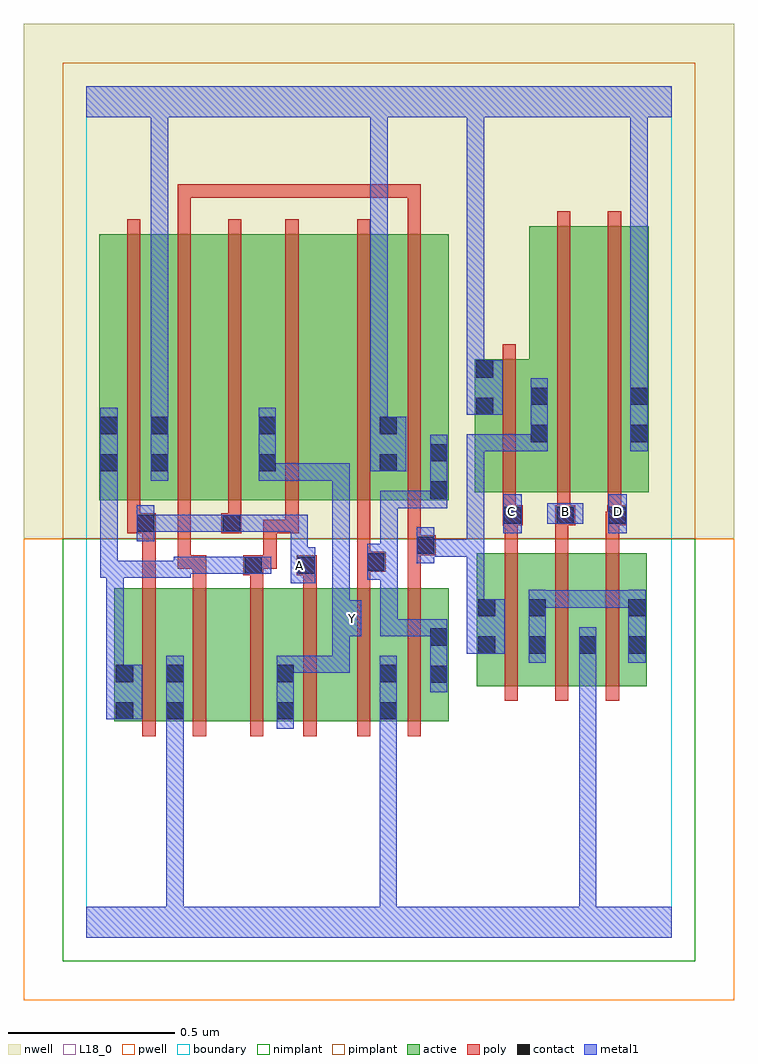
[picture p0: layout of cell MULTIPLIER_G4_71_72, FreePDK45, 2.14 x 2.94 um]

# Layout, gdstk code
import gdstk
lib = gdstk.Library(unit=1e-6, precision=1e-09)
def R(c, l, rs):  # rectangles x0, y0, x1, y1
    for r in rs: c.add(gdstk.rectangle(r[:2], r[2:], *l))
def A(c, l, x, y, w, h, nx, ny, dx, dy):  # array of equal rectangles
    R(c, l, [(x+i*dx, y+j*dy, x+i*dx+w, y+j*dy+h) for i in range(nx) for j in range(ny)])
active = (1, 0)
pwell = (2, 0)
nwell = (3, 0)
nimplant = (4, 0)
pimplant = (5, 0)
poly = (9, 0)
contact = (10, 0)
metal1 = (11, 0)
L18_0 = (18, 0)
boundary = (235, 0)

multiplier_g4_71_72 = lib.new_cell('MULTIPLIER_G4_71_72')
R(multiplier_g4_71_72, active, [(0.084,0.65,0.296,1.05), (0.236,0.65,0.416,1.05), (0.416,0.65,0.628,1.05), (0.568,0.65,0.748,1.05), (0.748,0.65,0.938,1.05), (0.878,0.65,1.09,1.05), (0.084,0.652,0.144,1.05), (0.236,0.652,0.296,0.824), (0.568,0.652,0.628,0.824), (0.878,0.652,0.938,0.824), (1.03,0.756,1.09,1.05), (1.174,0.756,1.234,1.156), (1.174,0.756,1.386,1.156), (1.326,0.756,1.538,1.156), (1.326,0.756,1.386,1.022), (1.478,0.756,1.686,1.156), (1.478,0.756,1.538,0.91), (1.626,0.756,1.686,1.156), (0.038,1.316,0.098,2.044), (0.038,1.316,0.25,2.116), (0.19,1.316,0.37,2.116), (0.19,1.316,0.25,2.044), (0.37,1.316,0.574,2.116), (0.514,1.316,0.694,2.116), (0.514,1.316,0.574,2.044), (0.694,1.316,0.938,2.116), (0.878,1.316,0.938,2.044), (0.878,1.316,1.09,2.116), (1.03,1.316,1.09,2.044), (1.168,1.34,1.228,1.74), (1.168,1.34,1.392,1.74), (1.332,1.34,1.512,2.14), (1.332,1.34,1.392,1.658), (1.512,1.34,1.692,2.14), (1.632,1.34,1.692,2.044)])
R(multiplier_g4_71_72, pwell, [(-0.188,-0.188,1.948,1.2)])
R(multiplier_g4_71_72, nwell, [(-0.188,1.2,1.948,2.748)])
R(multiplier_g4_71_72, nimplant, [(-0.072,-0.072,1.832,1.2)])
R(multiplier_g4_71_72, pimplant, [(-0.072,1.2,1.832,2.632)])
A(multiplier_g4_71_72, poly, 1.258, 0.712, 0.04, 0.488, 3, 1, 0.152, 0)
A(multiplier_g4_71_72, poly, 1.258, 1.16, 0.04, 0.12, 3, 1, 0.152, 0)
A(multiplier_g4_71_72, poly, 0.122, 1.272, 0.04, 0.888, 3, 1, 0.152, 0)
R(multiplier_g4_71_72, poly, [(0.168,0.606,0.208,1.094), (0.32,0.606,0.36,1.094), (0.492,0.606,0.532,1.094), (0.652,0.606,0.692,1.094), (0.814,0.606,0.854,1.094), (0.966,0.606,1.006,1.094), (0.168,1.054,0.208,1.256), (0.32,1.054,0.36,1.15), (0.492,1.054,0.532,1.13), (0.652,1.054,0.692,1.13), (0.814,1.054,0.854,1.14), (0.966,1.054,1.006,1.19), (0.472,1.09,0.532,1.15), (0.632,1.09,0.692,1.15), (0.814,1.1,0.854,1.14), (0.814,1.1,0.854,1.14), (0.814,1.1,0.9,1.16), (0.274,1.11,0.314,1.312), (0.274,1.11,0.34,1.15), (0.3,1.11,0.34,1.15), (0.3,1.11,0.36,1.15), (0.492,1.11,0.572,1.15), (0.532,1.11,0.572,1.15), (0.532,1.11,0.572,1.256), (0.814,1.12,0.854,1.312), (0.966,1.15,1.05,1.21), (0.966,1.17,1.006,1.21), (0.966,1.17,1.006,1.21), (0.966,1.17,1.006,1.312), (0.122,1.216,0.208,1.276), (0.168,1.216,0.208,1.256), (0.168,1.216,0.208,1.256), (0.406,1.216,0.466,1.276), (0.532,1.216,0.572,1.256), (0.532,1.216,0.638,1.256), (0.598,1.216,0.638,1.256), (0.598,1.216,0.638,1.312), (0.122,1.236,0.162,1.312), (0.426,1.236,0.466,1.312), (1.252,1.24,1.312,1.3), (1.41,1.24,1.47,1.3), (1.562,1.24,1.606,1.28), (1.566,1.24,1.606,1.28), (1.566,1.24,1.626,1.3), (1.252,1.26,1.292,1.336), (1.252,1.26,1.292,1.3), (1.252,1.26,1.292,1.3), (1.416,1.26,1.456,1.336), (1.416,1.26,1.456,1.3), (1.416,1.26,1.456,1.3), (1.568,1.26,1.608,1.336), (0.598,1.272,0.638,2.16), (0.814,1.272,0.854,2.16), (0.966,1.272,1.006,2.16), (1.252,1.296,1.292,1.784), (1.416,1.296,1.456,2.184), (1.568,1.296,1.608,2.184), (0.274,2.12,0.314,2.266), (0.966,2.12,1.006,2.266), (0.274,2.226,0.314,2.266), (0.274,2.226,0.466,2.266), (0.426,2.226,0.466,2.266), (0.426,2.226,0.466,2.266), (0.426,2.226,0.466,2.266), (0.426,2.226,0.748,2.266), (0.708,2.226,0.748,2.266), (0.708,2.226,0.748,2.266), (0.708,2.226,0.748,2.266), (0.708,2.226,0.854,2.266), (0.814,2.226,0.854,2.266), (0.814,2.226,0.854,2.266), (0.814,2.226,0.854,2.266), (0.814,2.226,1.006,2.266), (0.966,2.226,1.006,2.266), (0.966,2.226,1.006,2.266), (0.966,2.226,1.006,2.266)])
A(multiplier_g4_71_72, contact, 1.178, 0.854, 0.052, 0.052, 3, 1, 0.152, 0)
R(multiplier_g4_71_72, contact, [(0.088,0.656,0.14,0.708), (0.24,0.656,0.292,0.708), (0.572,0.656,0.624,0.708), (0.882,0.656,0.934,0.708), (1.034,0.766,1.086,0.818), (0.088,0.768,0.14,0.82), (0.24,0.768,0.292,0.82), (0.572,0.768,0.624,0.82), (0.882,0.768,0.934,0.82), (1.63,0.854,1.682,0.906), (1.034,0.878,1.086,0.93), (1.178,0.966,1.23,1.018), (1.33,0.966,1.382,1.018), (1.63,0.966,1.682,1.018), (0.476,1.094,0.528,1.146), (0.636,1.094,0.688,1.146), (0.844,1.104,0.896,1.156), (0.994,1.154,1.046,1.206), (0.152,1.22,0.204,1.272), (0.41,1.22,0.462,1.272), (1.256,1.244,1.308,1.296), (1.414,1.244,1.466,1.296), (1.57,1.244,1.622,1.296), (1.034,1.32,1.086,1.372), (0.042,1.402,0.094,1.454), (0.194,1.402,0.246,1.454), (0.518,1.402,0.57,1.454), (0.882,1.402,0.934,1.454), (1.034,1.432,1.086,1.484), (1.336,1.49,1.388,1.542), (1.636,1.49,1.688,1.542), (0.042,1.514,0.094,1.566), (0.194,1.514,0.246,1.566), (0.518,1.514,0.57,1.566), (0.882,1.514,0.934,1.566), (1.172,1.572,1.224,1.624), (1.336,1.602,1.388,1.654), (1.636,1.602,1.688,1.654), (1.172,1.684,1.224,1.736)])
R(multiplier_g4_71_72, metal1, [(0,0,1.76,0.092), (0.24,0.04,0.292,0.092), (0.24,0.04,0.292,0.092), (0.24,0.04,0.292,0.092), (0.24,0.04,0.292,0.092), (0.24,0.04,0.292,0.092), (0.24,0.04,0.292,0.092), (0.24,0.04,0.292,0.092), (0.24,0.04,0.292,0.092), (0.24,0.04,0.292,0.092), (0.24,0.04,0.292,0.092), (0.24,0.04,0.292,0.68), (0.882,0.04,0.934,0.092), (0.882,0.04,0.934,0.092), (0.882,0.04,0.934,0.092), (0.882,0.04,0.934,0.092), (0.882,0.04,0.934,0.68), (1.482,0.04,1.534,0.878), (0.24,0.628,0.292,0.68), (0.24,0.628,0.292,0.68), (0.24,0.628,0.292,0.848), (0.572,0.628,0.624,0.848), (0.882,0.628,0.934,0.68), (0.882,0.628,0.934,0.68), (0.882,0.628,0.934,0.68), (0.882,0.628,0.934,0.68), (0.882,0.628,0.934,0.68), (0.882,0.628,0.934,0.68), (0.882,0.628,0.934,0.68), (0.882,0.628,0.934,0.68), (0.882,0.628,0.934,0.848), (0.06,0.656,0.168,0.82), (1.034,0.738,1.086,0.958), (0.06,0.768,0.112,1.134), (0.572,0.796,0.786,0.848), (0.734,0.796,0.786,0.848), (0.734,0.796,0.792,0.848), (0.74,0.796,0.792,0.848), (0.74,0.796,0.792,0.958), (1.33,0.826,1.382,1.046), (1.482,0.826,1.534,0.878), (1.482,0.826,1.534,0.878), (1.482,0.826,1.534,0.878), (1.482,0.826,1.534,0.878), (1.482,0.826,1.534,0.878), (1.482,0.826,1.534,0.878), (1.482,0.826,1.534,0.878), (1.482,0.826,1.534,0.878), (1.482,0.826,1.534,0.878), (1.482,0.826,1.534,0.878), (1.482,0.826,1.534,0.878), (1.482,0.826,1.534,0.878), (1.482,0.826,1.534,0.934), (1.63,0.826,1.682,1.046), (1.144,0.854,1.258,1.018), (0.74,0.906,0.826,1.014), (0.884,0.906,0.936,0.958), (0.884,0.906,0.936,0.958), (0.884,0.906,0.936,0.958), (0.884,0.906,1.086,0.958), (0.884,0.906,0.936,1.128), (1.034,0.906,1.086,0.958), (1.034,0.906,1.086,0.958), (0.74,0.962,0.792,1.014), (0.74,0.962,0.792,1.014), (0.74,0.962,0.792,1.426), (1.144,0.966,1.196,1.198), (1.33,0.992,1.492,1.044), (1.44,0.992,1.492,1.044), (1.44,0.992,1.492,1.044), (1.44,0.992,1.492,1.044), (1.44,0.992,1.682,1.044), (1.63,0.992,1.682,1.044), (1.63,0.992,1.682,1.044), (0.614,1.066,0.688,1.174), (0.844,1.076,0.896,1.184), (0.844,1.076,0.936,1.128), (0.884,1.076,0.936,1.128), (0.884,1.076,0.936,1.344), (0.042,1.082,0.094,1.134), (0.042,1.082,0.094,1.134), (0.042,1.082,0.094,1.426), (0.042,1.082,0.112,1.134), (0.06,1.082,0.112,1.134), (0.06,1.082,0.112,1.134), (0.06,1.082,0.314,1.134), (0.262,1.082,0.314,1.146), (0.262,1.094,0.314,1.146), (0.262,1.094,0.314,1.146), (0.262,1.094,0.434,1.146), (0.382,1.094,0.434,1.146), (0.382,1.094,0.5,1.146), (0.448,1.094,0.556,1.146), (0.614,1.122,0.666,1.174), (0.614,1.122,0.666,1.174), (0.614,1.122,0.666,1.272), (0.994,1.126,1.046,1.234), (0.994,1.146,1.196,1.198), (1.144,1.146,1.196,1.198), (1.144,1.146,1.196,1.198), (1.144,1.146,1.196,1.198), (1.144,1.146,1.196,1.456), (0.152,1.192,0.204,1.3), (1.254,1.216,1.31,1.334), (1.57,1.216,1.626,1.334), (0.152,1.22,0.324,1.272), (0.272,1.22,0.324,1.272), (0.272,1.22,0.324,1.272), (0.272,1.22,0.324,1.272), (0.272,1.22,0.434,1.272), (0.382,1.22,0.434,1.272), (0.382,1.22,0.434,1.272), (0.382,1.22,0.49,1.272), (0.438,1.22,0.666,1.272), (0.614,1.22,0.666,1.272), (1.386,1.244,1.494,1.306), (0.884,1.292,0.936,1.344), (0.884,1.292,1.086,1.344), (1.034,1.292,1.086,1.344), (1.034,1.292,1.086,1.344), (1.034,1.292,1.086,1.512), (0.042,1.374,0.094,1.594), (0.194,1.374,0.246,1.594), (0.518,1.374,0.57,1.594), (0.518,1.374,0.666,1.426), (0.614,1.374,0.666,1.426), (0.614,1.374,0.792,1.426), (0.74,1.374,0.792,1.426), (0.854,1.402,0.962,1.566), (1.144,1.404,1.196,1.456), (1.144,1.404,1.196,1.514), (1.144,1.462,1.196,1.514), (1.144,1.462,1.328,1.514), (1.276,1.462,1.328,1.514), (1.276,1.462,1.388,1.514), (1.336,1.462,1.388,1.682), (1.636,1.462,1.688,1.682), (0.854,1.514,0.906,1.566), (0.854,1.514,0.906,1.566), (0.854,1.514,0.906,1.566), (0.854,1.514,0.906,1.566), (0.854,1.514,0.906,2.52), (0.194,1.542,0.246,2.52), (1.144,1.572,1.252,1.736), (1.636,1.63,1.688,2.52), (1.636,1.63,1.688,1.682), (1.636,1.63,1.688,1.682), (1.636,1.63,1.688,1.682), (1.636,1.63,1.688,1.682), (1.636,1.63,1.688,1.682), (1.636,1.63,1.688,1.682), (1.144,1.684,1.196,1.792), (1.144,1.74,1.196,1.792), (1.144,1.74,1.196,1.792), (1.144,1.74,1.196,1.792), (1.144,1.74,1.196,1.792), (1.144,1.74,1.196,1.792), (1.144,1.74,1.196,1.792), (1.144,1.74,1.196,1.792), (1.144,1.74,1.196,1.792), (1.144,1.74,1.196,1.792), (1.144,1.74,1.196,1.792), (1.144,1.74,1.196,1.792), (1.144,1.74,1.196,1.792), (1.144,1.74,1.196,1.792), (1.144,1.74,1.196,1.792), (1.144,1.74,1.196,1.792), (1.144,1.74,1.196,2.52), (0,2.468,1.76,2.56), (0.194,2.468,0.246,2.52), (0.194,2.468,0.246,2.52), (0.194,2.468,0.246,2.52), (0.194,2.468,0.246,2.52), (0.194,2.468,0.246,2.52), (0.194,2.468,0.246,2.52), (0.194,2.468,0.246,2.52), (0.194,2.468,0.246,2.52), (0.854,2.468,0.906,2.52), (0.854,2.468,0.906,2.52), (0.854,2.468,0.906,2.52), (0.854,2.468,0.906,2.52), (1.636,2.468,1.688,2.52), (1.636,2.468,1.688,2.52)])
A(multiplier_g4_71_72, L18_0, 1.254, 1.254, 0.052, 0.052, 3, 1, 0.16, 0)
R(multiplier_g4_71_72, L18_0, [(0,0,1.76,0.092), (0.24,0.04,0.292,0.092), (0.24,0.04,0.292,0.092), (0.24,0.04,0.292,0.092), (0.24,0.04,0.292,0.092), (0.24,0.04,0.292,0.092), (0.24,0.04,0.292,0.092), (0.24,0.04,0.292,0.092), (0.24,0.04,0.292,0.092), (0.24,0.04,0.292,0.092), (0.24,0.04,0.292,0.092), (0.24,0.04,0.292,0.68), (0.882,0.04,0.934,0.092), (0.882,0.04,0.934,0.092), (0.882,0.04,0.934,0.092), (0.882,0.04,0.934,0.092), (0.882,0.04,0.934,0.68), (1.482,0.04,1.534,0.878), (0.24,0.628,0.292,0.68), (0.24,0.628,0.292,0.68), (0.24,0.628,0.292,0.848), (0.572,0.628,0.624,0.848), (0.882,0.628,0.934,0.68), (0.882,0.628,0.934,0.68), (0.882,0.628,0.934,0.68), (0.882,0.628,0.934,0.68), (0.882,0.628,0.934,0.68), (0.882,0.628,0.934,0.68), (0.882,0.628,0.934,0.68), (0.882,0.628,0.934,0.68), (0.882,0.628,0.934,0.848), (0.572,0.796,0.786,0.848), (0.734,0.796,0.786,0.848), (0.734,0.796,0.792,0.848), (0.74,0.796,0.792,0.848), (0.74,0.796,0.792,0.958), (1.482,0.826,1.534,0.934), (1.482,0.826,1.534,0.878), (1.482,0.826,1.534,0.878), (1.482,0.826,1.534,0.878), (1.482,0.826,1.534,0.878), (1.482,0.826,1.534,0.878), (1.482,0.826,1.534,0.878), (1.482,0.826,1.534,0.878), (1.482,0.826,1.534,0.878), (1.482,0.826,1.534,0.878), (1.482,0.826,1.534,0.878), (1.482,0.826,1.534,0.878), (1.482,0.826,1.534,0.878), (0.74,0.906,0.826,1.014), (0.774,0.934,0.826,0.986), (0.74,0.962,0.792,1.014), (0.74,0.962,0.792,1.014), (0.74,0.962,0.792,1.426), (0.614,1.066,0.688,1.174), (0.614,1.094,0.666,1.146), (0.614,1.122,0.666,1.174), (0.614,1.122,0.666,1.174), (0.614,1.122,0.666,1.272), (0.152,1.192,0.204,1.3), (1.254,1.216,1.31,1.334), (1.57,1.216,1.626,1.334), (0.152,1.22,0.324,1.272), (0.272,1.22,0.324,1.272), (0.272,1.22,0.324,1.272), (0.272,1.22,0.324,1.272), (0.272,1.22,0.434,1.272), (0.382,1.22,0.434,1.272), (0.382,1.22,0.434,1.272), (0.382,1.22,0.49,1.272), (0.438,1.22,0.666,1.272), (0.614,1.22,0.666,1.272), (1.386,1.244,1.494,1.306), (0.194,1.374,0.246,1.594), (0.518,1.374,0.57,1.594), (0.518,1.374,0.666,1.426), (0.614,1.374,0.666,1.426), (0.614,1.374,0.792,1.426), (0.74,1.374,0.792,1.426), (0.854,1.402,0.962,1.566), (1.636,1.462,1.688,1.682), (0.854,1.514,0.906,1.566), (0.854,1.514,0.906,1.566), (0.854,1.514,0.906,1.566), (0.854,1.514,0.906,1.566), (0.854,1.514,0.906,2.52), (0.194,1.542,0.246,2.52), (1.144,1.572,1.252,1.736), (1.636,1.63,1.688,1.682), (1.636,1.63,1.688,1.682), (1.636,1.63,1.688,1.682), (1.636,1.63,1.688,1.682), (1.636,1.63,1.688,1.682), (1.636,1.63,1.688,1.682), (1.636,1.63,1.688,2.52), (1.144,1.684,1.196,1.792), (1.144,1.74,1.196,1.792), (1.144,1.74,1.196,1.792), (1.144,1.74,1.196,1.792), (1.144,1.74,1.196,1.792), (1.144,1.74,1.196,1.792), (1.144,1.74,1.196,1.792), (1.144,1.74,1.196,1.792), (1.144,1.74,1.196,1.792), (1.144,1.74,1.196,1.792), (1.144,1.74,1.196,1.792), (1.144,1.74,1.196,1.792), (1.144,1.74,1.196,1.792), (1.144,1.74,1.196,1.792), (1.144,1.74,1.196,1.792), (1.144,1.74,1.196,1.792), (1.144,1.74,1.196,2.52), (0,2.468,1.76,2.56), (0.194,2.468,0.246,2.52), (0.194,2.468,0.246,2.52), (0.194,2.468,0.246,2.52), (0.194,2.468,0.246,2.52), (0.194,2.468,0.246,2.52), (0.194,2.468,0.246,2.52), (0.194,2.468,0.246,2.52), (0.194,2.468,0.246,2.52), (0.854,2.468,0.906,2.52), (0.854,2.468,0.906,2.52), (0.854,2.468,0.906,2.52), (0.854,2.468,0.906,2.52), (1.636,2.468,1.688,2.52), (1.636,2.468,1.688,2.52)])
R(multiplier_g4_71_72, boundary, [(0,0,1.76,2.56)])
multiplier_g4_71_72.add(gdstk.Label('A', (0.64,1.12), layer=11, texttype=0))
multiplier_g4_71_72.add(gdstk.Label('B', (1.44,1.28), layer=11, texttype=0))
multiplier_g4_71_72.add(gdstk.Label('C', (1.28,1.28), layer=11, texttype=0))
multiplier_g4_71_72.add(gdstk.Label('D', (1.6,1.28), layer=11, texttype=0))
multiplier_g4_71_72.add(gdstk.Label('Y', (0.8,0.96), layer=11, texttype=0))

lib.write_gds('MULTIPLIER_G4_71_72.gds')
